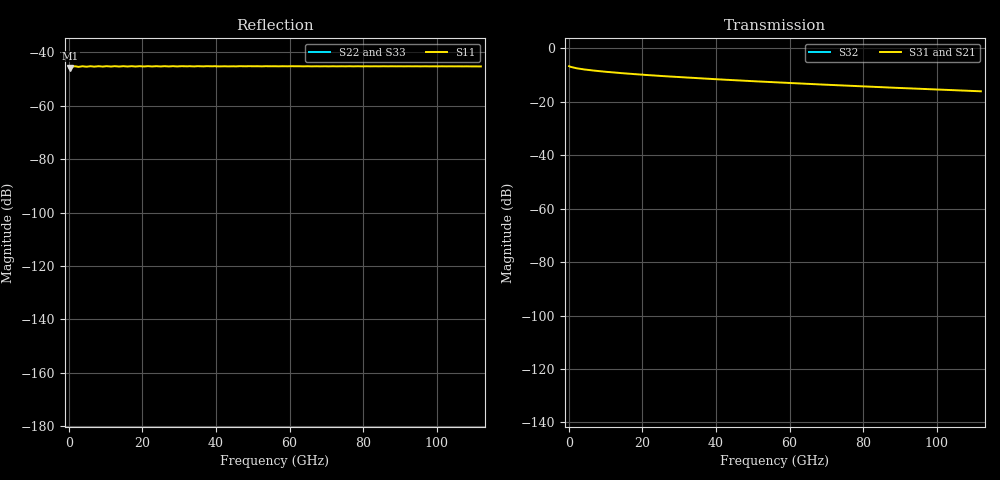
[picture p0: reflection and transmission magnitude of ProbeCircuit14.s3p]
! File created by SignalIntegrity v1.3.3: Signal and Power Integrity Tools
! https://github.com/TeledyneLeCroy/SignalIntegrity
# MHz S MA R 50.0
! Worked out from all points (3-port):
!   1120 points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, 100 MHz to 112 GHz, reference 50 ohm
!   strongest paths, dB at 100 MHz, 28.1 GHz, 56.1 GHz, 84.1 GHz, 112 GHz:
!     S31: -6.6, -10.6, -12.7, -14.4, -16.0
!     S21: -6.6, -10.6, -12.7, -14.4, -16.0
!     S32: -, -, -, -, -
!   lowest |S11| = -45.8 dB at 400 MHz (marker M1), VSWR 1.01, Z = 50.5 + j0.00844 ohm
!   |S11| at or under -10 dB: start of sweep to end of sweep
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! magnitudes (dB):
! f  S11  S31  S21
! 100 MHz  -45.7  -6.6  -6.6
! 400 MHz  -45.8  -6.8  -6.8
! 1.7 GHz  -45.2  -7.3  -7.3
! 2.6 GHz  -45.4  -7.5  -7.5
! 3.7 GHz  -45.2  -7.8  -7.8
! 7.4 GHz  -45.3  -8.4  -8.4
! 16.8 GHz  -45.2  -9.5  -9.5
! 33.1 GHz  -45.2  -11.0  -11.0
! 56.1 GHz  -45.2  -12.7  -12.7
! 112 GHz  -45.2  -16.0  -16.0
